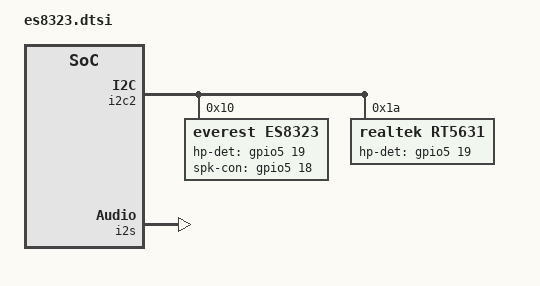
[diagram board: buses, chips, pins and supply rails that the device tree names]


/ {

        es8323-sound {
                status = "okay";
                compatible = "simple-audio-card";
                simple-audio-card,format = "i2s";
                simple-audio-card,name = "es8323-codec";
                simple-audio-card,mclk-fs = <512>;
                simple-audio-card,widgets =
                        "Microphone", "Microphone Jack",
                        "Headphone", "Headphone Jack";
                simple-audio-card,routing =
                        "MIC1", "Microphone Jack",
                        "MIC2", "Microphone Jack",
                        "Microphone Jack", "micbias1",
                        "Headphone Jack", "HPOL",
                        "Headphone Jack", "HPOR";
                simple-audio-card,cpu {
                        sound-dai = <&i2s>;
                };
                simple-audio-card,codec {
                        sound-dai = <&es8323>;
                };

        };
	
	rt5631-sound {
		status = "okay";
        	compatible = "simple-audio-card";
        	simple-audio-card,format = "i2s";
        	simple-audio-card,name = "rt5631-codec";
		simple-audio-card,mclk-fs = <512>;
                simple-audio-card,widgets =
                        "Microphone", "Mic Jack",
                        "Headphone", "Headphone Jack",
                        "Speaker", "Speaker";
                simple-audio-card,routing =
                        "Headphone Jack", "HPOL",
                        "Headphone Jack", "HPOR";

                simple-audio-card,cpu {
                        sound-dai = <&i2s>;
                };
                simple-audio-card,codec {
                        sound-dai = <&rt5631>;
                };
	};
};


&i2c2 {
	status = "okay";
	assigned-clock-rates = <100000>;
	
	es8323: es8323@10 {
		compatible = "everest,es8323";
		reg = <0x10>;
		hp-det-gpio = <&gpio5 19 GPIO_ACTIVE_HIGH>;
		spk-con-gpio = <&gpio5 18 GPIO_ACTIVE_HIGH>;
		clock-names = "mclk";
		clocks = <&cru SCLK_I2S0_OUT>;
		#sound-dai-cells = <0>;
	};
	
	rt5631: rt5631@1a {
                status = "okay";
                compatible = "realtek,rt5631";
                reg = <0x1a>;
		phone_det_level = <1>;
		clock-names = "mclk";
		clocks = <&cru SCLK_I2S0_OUT>;
		hp-det-gpio = <&gpio5 19 GPIO_ACTIVE_HIGH>;
		#sound-dai-cells = <0>;
                pinctrl-names = "default";
                pinctrl-0 = <&i2s_8ch_mclk>;
        };
};


&i2s {
        #sound-dai-cells = <0>;
        status = "okay";
};
